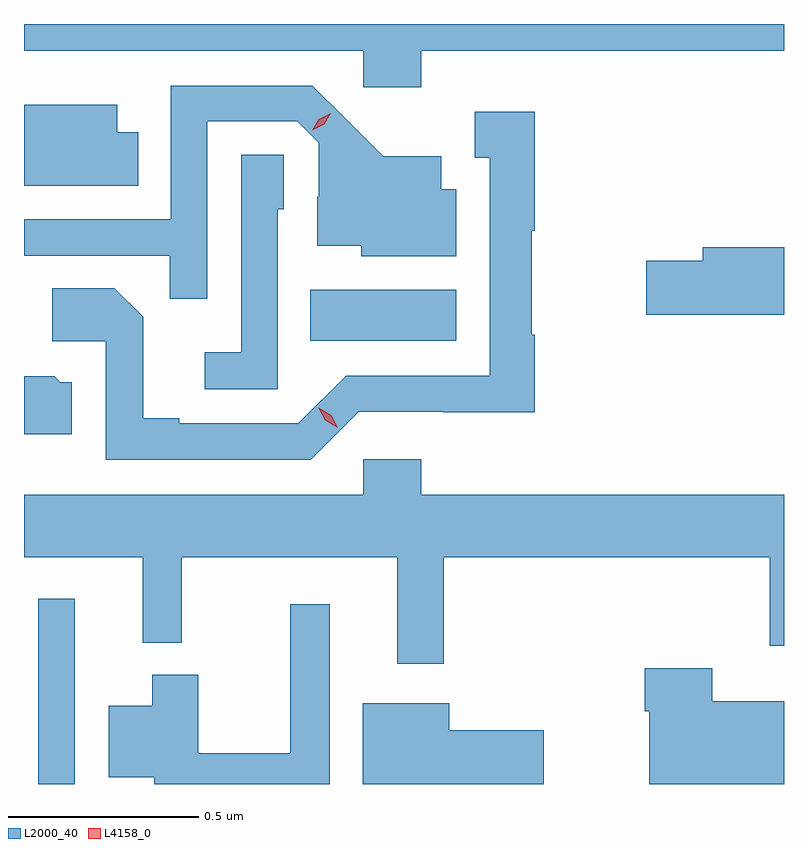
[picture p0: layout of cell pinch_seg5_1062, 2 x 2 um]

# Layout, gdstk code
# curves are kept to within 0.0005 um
import gdstk
lib = gdstk.Library(unit=1e-6, precision=1e-09)
def R(c, l, rs):  # rectangles x0, y0, x1, y1
    for r in rs: c.add(gdstk.rectangle(r[:2], r[2:], *l))
def P(c, l, *ps):  # polygons
    for p in ps: c.add(gdstk.Polygon(p, *l))
L2000_40 = (2000, 40)
L4158_0 = (4158, 0)

pinch_seg5_1062 = lib.new_cell('pinch_seg5_1062')
R(pinch_seg5_1062, L2000_40, [(743.6,840.179,743.697,840.667), (744.316,841.346,744.7,841.48)])
P(pinch_seg5_1062, L2000_40, [(744.608,842.108),(745.563,842.108),(745.563,842.179),(743.563,842.179),(743.563,842.108),(744.456,842.108),(744.456,842.013),(744.608,842.013)],
  [(744.045,841.923),(744.282,841.923),(744.339,841.866),(744.339,841.724),(744.335,841.724),(744.335,841.595),(744.45,841.595),(744.45,841.568),(744.7,841.568),(744.7,841.744),(744.661,841.744),(744.661,841.831),(744.509,841.831),(744.322,842.016),(743.949,842.016),(743.949,841.665),(743.563,841.665),(743.563,841.569),(743.947,841.569),(743.947,841.456),(744.045,841.456)],
  [(743.864,841.894),(743.809,841.894),(743.809,841.966),(743.563,841.966),(743.563,841.754),(743.864,841.754)],
  [(744.444,841.158),(744.666,841.158),(744.666,841.157),(744.907,841.157),(744.907,841.361),(744.899,841.361),(744.899,841.635),(744.907,841.635),(744.907,841.948),(744.749,841.948),(744.749,841.827),(744.788,841.827),(744.788,841.254),(744.411,841.254),(744.285,841.128),(743.971,841.128),(743.971,841.141),(743.877,841.141),(743.877,841.408),(743.801,841.484),(743.637,841.484),(743.637,841.344),(743.778,841.344),(743.778,841.032),(744.318,841.032)],
  [(744.231,841.692),(744.246,841.692),(744.246,841.835),(744.135,841.835),(744.135,841.315),(744.039,841.315),(744.039,841.218),(744.231,841.218)],
  [(745.563,841.592),(745.349,841.592),(745.349,841.556),(745.2,841.556),(745.2,841.414),(745.563,841.414)],
  [(743.689,841.236),(743.658,841.236),(743.642,841.252),(743.563,841.252),(743.563,841.1),(743.689,841.1)],
  [(744.667,840.776),(745.525,840.776),(745.525,840.543),(745.563,840.543),(745.563,840.94),(744.608,840.94),(744.608,841.033),(744.456,841.033),(744.456,840.94),(743.563,840.94),(743.563,840.776),(743.876,840.776),(743.876,840.551),(743.978,840.551),(743.978,840.776),(744.545,840.776),(744.545,840.495),(744.667,840.495)],
  [(744.367,840.652),(744.263,840.652),(744.263,840.26),(744.022,840.26),(744.022,840.466),(743.9,840.466),(743.9,840.385),(743.786,840.385),(743.786,840.197),(743.906,840.197),(743.906,840.179),(744.367,840.179)],
  [(745.563,840.397),(745.374,840.397),(745.374,840.484),(745.196,840.484),(745.196,840.371),(745.208,840.371),(745.208,840.179),(745.563,840.179)],
  [(744.931,840.321),(744.682,840.321),(744.682,840.391),(744.455,840.391),(744.455,840.179),(744.931,840.179)])
P(pinch_seg5_1062, L4158_0, [(744.388,841.116),(744.356,841.136),(744.339,841.168),(744.339,841.169),(744.339,841.169),(744.371,841.149),(744.388,841.117),(744.388,841.116)],
  [(744.322,841.9),(744.322,841.9),(744.339,841.929),(744.37,841.944),(744.37,841.944),(744.37,841.944),(744.353,841.915),(744.322,841.9)])

lib.write_gds('pinch_seg5_1062.gds')
